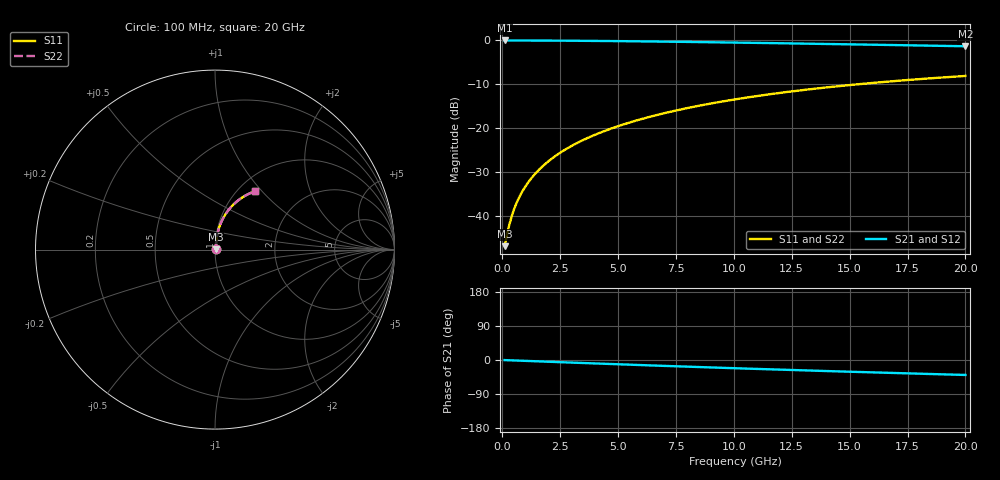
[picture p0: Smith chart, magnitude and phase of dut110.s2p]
! Touchstone file exported from HFSS 2024.1.0
!  File:  C:/UserFiles/LocalFiles/RDL_TSV_Batchsim/temp_RDL_bottom_110_1778695636.aedt
!  Generated:  02:09:57 AM May 14, 2026
!  Design:  RDL_bottom
!  Project:  temp_RDL_bottom_110_1778695636
!  Setup:  Setup1
!  Solution:  Sweep
! Variables:
!  dtsv = 10.80580581um
!  hbump = 3um
!  htsv = 96.31um
!  ldown = 533.27um
!  lrdl = 100um
!  p = 40
!  p1 = 47.02um
!  rhole = 1um
!  t = 450um
!  tdown = 2.84um
!  trdl = 3.915915916um
!  wdown = 18.08um
!  wrdl = 20um
# GHz S MA R 50.000000
! Terminal data exported
! Port[1] = RDL1_T1
! Port[2] = RDL1_T2
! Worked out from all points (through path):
!   200 points, 100 MHz to 20 GHz, reference 50 ohm
!   highest |S21| = -0.03 dB at 100 MHz (marker M1); lowest = -1.4 dB at 20 GHz (marker M2)
!   group delay of S21, straight-line fit = 5.47 ps
!   lowest |S11| = -47.0 dB at 100 MHz (marker M3), VSWR 1.01, Z = 50.4 + j0.225 ohm
!   |S11| at or under -10 dB: start of sweep to 15.42 GHz
!   |S22| runs from -47.0 to -8.1 dB; largest |S21 - S12| = 4.5e-15
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0.1  0.004469 30.0  0.9961 -0.2  0.9961 -0.2  0.004469 30.0
! Gamma 0 0 0 0
! Port Impedance 50 0 50 0
0.3  0.007765 58.0  0.9959 -0.7  0.9959 -0.7  0.007765 58.0
0.4  0.009682 63.8  0.9957 -1.0  0.9957 -1.0  0.009682 63.8
0.5  0.01163 67.6  0.9955 -1.2  0.9955 -1.2  0.01163 67.6
0.6  0.01359 70.3  0.9953 -1.4  0.9953 -1.4  0.01359 70.3
0.8  0.01754 74.0  0.995 -1.9  0.995 -1.9  0.01754 74.0
1.1  0.02352 77.2  0.9945 -2.6  0.9945 -2.6  0.02352 77.2
1.3  0.02754 78.5  0.9941 -3.0  0.9941 -3.0  0.02754 78.5
1.6  0.03362 79.8  0.9934 -3.7  0.9934 -3.7  0.03362 79.8
2.1  0.04384 81.1  0.9921 -4.8  0.9921 -4.8  0.04384 81.1
2.7  0.05623 81.6  0.9902 -6.2  0.9902 -6.2  0.05623 81.6
3.5  0.07292 81.6  0.9869 -8.0  0.9869 -8.0  0.07292 81.6
4.2  0.08766 81.2  0.9835 -9.6  0.9835 -9.6  0.08766 81.2
5  0.1046 80.5  0.9791 -11.3  0.9791 -11.3  0.1046 80.5
5.9  0.1238 79.5  0.9736 -13.2  0.9736 -13.2  0.1238 79.4
6.8  0.1431 78.2  0.9675 -15.1  0.9675 -15.1  0.1431 78.2
8.4  0.1772 75.8  0.9557 -18.4  0.9557 -18.4  0.1771 75.7
10.1  0.2128 72.9  0.9421 -21.8  0.9421 -21.8  0.2127 72.9
11.7  0.2453 70.1  0.9287 -24.9  0.9287 -24.9  0.2453 70.1
13.4  0.2786 67.1  0.914 -28.1  0.914 -28.1  0.2786 67.1
16.7  0.3387 61.3  0.8847 -33.9  0.8847 -33.9  0.3386 61.3
20  0.392 55.8  0.8553 -39.5  0.8553 -39.5  0.3919 55.8
